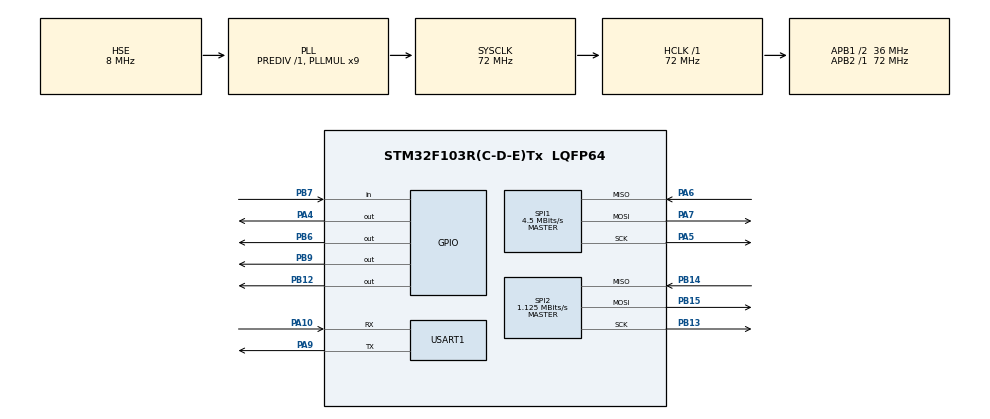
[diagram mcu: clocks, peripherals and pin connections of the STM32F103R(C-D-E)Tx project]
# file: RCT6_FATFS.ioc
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Mcu.Family=STM32F1
Mcu.Name=STM32F103R(C-D-E)Tx
Mcu.Package=LQFP64
NVIC.PriorityGroup=NVIC_PRIORITYGROUP_4
NVIC.TIM3_IRQn=true\:1\:0\:true\:false\:true\:true\:true\:true
NVIC.USART1_IRQn=true\:0\:0\:false\:false\:true\:true\:true\:true
PA10.Mode=Asynchronous
PA10.Signal=USART1_RX
PA13.Mode=Serial_Wire
PA13.Signal=SYS_JTMS-SWDIO
PA14.Mode=Serial_Wire
PA14.Signal=SYS_JTCK-SWCLK
PA4.Signal=GPIO_Output
PA5.Mode=Full_Duplex_Master
PA5.Signal=SPI1_SCK
PA6.Mode=Full_Duplex_Master
PA6.Signal=SPI1_MISO
PA7.Mode=Full_Duplex_Master
PA7.Signal=SPI1_MOSI
PA9.Mode=Asynchronous
PA9.Signal=USART1_TX
PB12.Signal=GPIO_Output
PB13.Mode=Full_Duplex_Master
PB13.Signal=SPI2_SCK
PB14.Mode=Full_Duplex_Master
PB14.Signal=SPI2_MISO
PB15.Mode=Full_Duplex_Master
PB15.Signal=SPI2_MOSI
PB6.Signal=GPIO_Output
PB7.Signal=GPIO_Input
PB9.Signal=GPIO_Output
PD0-OSC_IN.Mode=HSE-External-Oscillator
PD0-OSC_IN.Signal=RCC_OSC_IN
PD1-OSC_OUT.Mode=HSE-External-Oscillator
PD1-OSC_OUT.Signal=RCC_OSC_OUT
ProjectManager.HeapSize=0x200
ProjectManager.StackSize=0x400
ProjectManager.TargetToolchain=MDK-ARM V5.32
RCC.AHBFreq_Value=72000000
RCC.APB1CLKDivider=RCC_HCLK_DIV2
RCC.APB1Freq_Value=36000000
RCC.APB1TimFreq_Value=72000000
RCC.APB2Freq_Value=72000000
RCC.APB2TimFreq_Value=72000000
RCC.HCLKFreq_Value=72000000
RCC.PLLMUL=RCC_PLL_MUL9
RCC.PLLSourceVirtual=RCC_PLLSOURCE_HSE
RCC.SYSCLKFreq_VALUE=72000000
RCC.SYSCLKSource=RCC_SYSCLKSOURCE_PLLCLK
RCC.USBFreq_Value=72000000
SPI1.BaudRatePrescaler=SPI_BAUDRATEPRESCALER_16
SPI1.CalculateBaudRate=4.5 MBits/s
SPI1.Direction=SPI_DIRECTION_2LINES
SPI1.Mode=SPI_MODE_MASTER
SPI1.VirtualType=VM_MASTER
SPI2.BaudRatePrescaler=SPI_BAUDRATEPRESCALER_32
SPI2.CalculateBaudRate=1.125 MBits/s
SPI2.Direction=SPI_DIRECTION_2LINES
SPI2.Mode=SPI_MODE_MASTER
SPI2.VirtualType=VM_MASTER
TIM3.AutoReloadPreload=TIM_AUTORELOAD_PRELOAD_ENABLE
TIM3.Period=249
TIM3.Prescaler=71
USART1.VirtualMode=VM_ASYNC
VP_TIM3_VS_ClockSourceINT.Mode=Internal
board=custom

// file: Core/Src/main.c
/* USER CODE BEGIN Header */
/**
  ******************************************************************************
  * @file           : main.c
  * @brief          : Main program body
  ******************************************************************************
  * @attention
  *
  * Copyright (c) 2026 STMicroelectronics.
  * All rights reserved.
  *
  * This software is licensed under terms that can be found in the LICENSE file
  * in the root directory of this software component.
  * If no LICENSE file comes with this software, it is provided AS-IS.
  *
  ******************************************************************************
  */
/* USER CODE END Header */
#include "main.h"

/* USER CODE BEGIN Includes */

#include "stdio.h"
#include "ff.h"
#include "sd.h"
#include "vs1053.h"
#include "uart_io.h"
#include "app.h"
/* USER CODE END Includes */

SPI_HandleTypeDef hspi1;
SPI_HandleTypeDef hspi2;

TIM_HandleTypeDef htim3;

UART_HandleTypeDef huart1;

/* USER CODE BEGIN PV */
int fputc(int ch, FILE *f)
{
    HAL_UART_Transmit(&huart1, (uint8_t *)&ch, 1, 100);
    return ch;
}
/* USER CODE END PV */

void SystemClock_Config(void);
static void MX_GPIO_Init(void);
static void MX_SPI1_Init(void);
static void MX_USART1_UART_Init(void);
static void MX_SPI2_Init(void);
static void MX_TIM3_Init(void);
/* USER CODE BEGIN PFP */
FATFS   fs_sd;
FRESULT fs_sd_res;

static uint8_t mkfs_work[FF_MAX_SS*4];
/* USER CODE END PFP */

int main(void)
{

  /* MCU Configuration--------------------------------------------------------*/

  /* Reset of all peripherals, Initializes the Flash interface and the Systick. */
  HAL_Init();

  /* Configure the system clock */
  SystemClock_Config();

  /* Initialize all configured peripherals */
  MX_GPIO_Init();
  MX_SPI1_Init();
  MX_USART1_UART_Init();
  MX_SPI2_Init();
  MX_TIM3_Init();
  /* USER CODE BEGIN 2 */

	App_Init();          //装配：串口IO + 协议钩子 + 收帧回调注册

  /* USER CODE END 2 */

  /* Infinite loop */
  while (1)
  {

    /* USER CODE BEGIN 3 */
	  App_Poll();          //冲刷发�?? + 把收到的字节喂给协议状�?�机
  }
  /* USER CODE END 3 */
}

void SystemClock_Config(void)
{
  RCC_OscInitTypeDef RCC_OscInitStruct = {0};
  RCC_ClkInitTypeDef RCC_ClkInitStruct = {0};

  /** Initializes the RCC Oscillators according to the specified parameters
  * in the RCC_OscInitTypeDef structure.
  */
  RCC_OscInitStruct.OscillatorType = RCC_OSCILLATORTYPE_HSE;
  RCC_OscInitStruct.HSEState = RCC_HSE_ON;
  RCC_OscInitStruct.HSEPredivValue = RCC_HSE_PREDIV_DIV1;
  RCC_OscInitStruct.HSIState = RCC_HSI_ON;
  RCC_OscInitStruct.PLL.PLLState = RCC_PLL_ON;
  RCC_OscInitStruct.PLL.PLLSource = RCC_PLLSOURCE_HSE;
  RCC_OscInitStruct.PLL.PLLMUL = RCC_PLL_MUL9;
  if (HAL_RCC_OscConfig(&RCC_OscInitStruct) != HAL_OK)
  {
    Error_Handler();
  }

  /** Initializes the CPU, AHB and APB buses clocks
  */
  RCC_ClkInitStruct.ClockType = RCC_CLOCKTYPE_HCLK|RCC_CLOCKTYPE_SYSCLK
                              |RCC_CLOCKTYPE_PCLK1|RCC_CLOCKTYPE_PCLK2;
  RCC_ClkInitStruct.SYSCLKSource = RCC_SYSCLKSOURCE_PLLCLK;
  RCC_ClkInitStruct.AHBCLKDivider = RCC_SYSCLK_DIV1;
  RCC_ClkInitStruct.APB1CLKDivider = RCC_HCLK_DIV2;
  RCC_ClkInitStruct.APB2CLKDivider = RCC_HCLK_DIV1;

  if (HAL_RCC_ClockConfig(&RCC_ClkInitStruct, FLASH_LATENCY_2) != HAL_OK)
  {
    Error_Handler();
  }
}

static void MX_SPI1_Init(void)
{

  /* SPI1 parameter configuration*/
  hspi1.Instance = SPI1;
  hspi1.Init.Mode = SPI_MODE_MASTER;
  hspi1.Init.Direction = SPI_DIRECTION_2LINES;
  hspi1.Init.DataSize = SPI_DATASIZE_8BIT;
  hspi1.Init.CLKPolarity = SPI_POLARITY_LOW;
  hspi1.Init.CLKPhase = SPI_PHASE_1EDGE;
  hspi1.Init.NSS = SPI_NSS_SOFT;
  hspi1.Init.BaudRatePrescaler = SPI_BAUDRATEPRESCALER_16;
  hspi1.Init.FirstBit = SPI_FIRSTBIT_MSB;
  hspi1.Init.TIMode = SPI_TIMODE_DISABLE;
  hspi1.Init.CRCCalculation = SPI_CRCCALCULATION_DISABLE;
  hspi1.Init.CRCPolynomial = 10;
  if (HAL_SPI_Init(&hspi1) != HAL_OK)
  {
    Error_Handler();
  }

}

static void MX_SPI2_Init(void)
{

  /* SPI2 parameter configuration*/
  hspi2.Instance = SPI2;
  hspi2.Init.Mode = SPI_MODE_MASTER;
  hspi2.Init.Direction = SPI_DIRECTION_2LINES;
  hspi2.Init.DataSize = SPI_DATASIZE_8BIT;
  hspi2.Init.CLKPolarity = SPI_POLARITY_LOW;
  hspi2.Init.CLKPhase = SPI_PHASE_1EDGE;
  hspi2.Init.NSS = SPI_NSS_SOFT;
  hspi2.Init.BaudRatePrescaler = SPI_BAUDRATEPRESCALER_32;
  hspi2.Init.FirstBit = SPI_FIRSTBIT_MSB;
  hspi2.Init.TIMode = SPI_TIMODE_DISABLE;
  hspi2.Init.CRCCalculation = SPI_CRCCALCULATION_DISABLE;
  hspi2.Init.CRCPolynomial = 10;
  if (HAL_SPI_Init(&hspi2) != HAL_OK)
  {
    Error_Handler();
  }

}

static void MX_TIM3_Init(void)
{

  TIM_ClockConfigTypeDef sClockSourceConfig = {0};
  TIM_MasterConfigTypeDef sMasterConfig = {0};

  htim3.Instance = TIM3;
  htim3.Init.Prescaler = 71;
  htim3.Init.CounterMode = TIM_COUNTERMODE_UP;
  htim3.Init.Period = 249;
  htim3.Init.ClockDivision = TIM_CLOCKDIVISION_DIV1;
  htim3.Init.AutoReloadPreload = TIM_AUTORELOAD_PRELOAD_ENABLE;
  if (HAL_TIM_Base_Init(&htim3) != HAL_OK)
  {
    Error_Handler();
  }
  sClockSourceConfig.ClockSource = TIM_CLOCKSOURCE_INTERNAL;
  if (HAL_TIM_ConfigClockSource(&htim3, &sClockSourceConfig) != HAL_OK)
  {
    Error_Handler();
  }
  sMasterConfig.MasterOutputTrigger = TIM_TRGO_RESET;
  sMasterConfig.MasterSlaveMode = TIM_MASTERSLAVEMODE_DISABLE;
  if (HAL_TIMEx_MasterConfigSynchronization(&htim3, &sMasterConfig) != HAL_OK)
  {
    Error_Handler();
  }

}

static void MX_USART1_UART_Init(void)
{

  huart1.Instance = USART1;
  huart1.Init.BaudRate = 115200;
  huart1.Init.WordLength = UART_WORDLENGTH_8B;
  huart1.Init.StopBits = UART_STOPBITS_1;
  huart1.Init.Parity = UART_PARITY_NONE;
  huart1.Init.Mode = UART_MODE_TX_RX;
  huart1.Init.HwFlowCtl = UART_HWCONTROL_NONE;
  huart1.Init.OverSampling = UART_OVERSAMPLING_16;
  if (HAL_UART_Init(&huart1) != HAL_OK)
  {
    Error_Handler();
  }

}

static void MX_GPIO_Init(void)
{
  GPIO_InitTypeDef GPIO_InitStruct = {0};

  /* GPIO Ports Clock Enable */
  __HAL_RCC_GPIOD_CLK_ENABLE();
  __HAL_RCC_GPIOA_CLK_ENABLE();
  __HAL_RCC_GPIOB_CLK_ENABLE();

  /*Configure GPIO pin Output Level */
  HAL_GPIO_WritePin(GPIOA, GPIO_PIN_4, GPIO_PIN_RESET);

  /*Configure GPIO pin Output Level */
  HAL_GPIO_WritePin(GPIOB, GPIO_PIN_12|GPIO_PIN_6|GPIO_PIN_9, GPIO_PIN_RESET);

  /*Configure GPIO pin : PA4 */
  GPIO_InitStruct.Pin = GPIO_PIN_4;
  GPIO_InitStruct.Mode = GPIO_MODE_OUTPUT_PP;
  GPIO_InitStruct.Pull = GPIO_NOPULL;
  GPIO_InitStruct.Speed = GPIO_SPEED_FREQ_LOW;
  HAL_GPIO_Init(GPIOA, &GPIO_InitStruct);

  /*Configure GPIO pins : PB12 PB6 PB9 */
  GPIO_InitStruct.Pin = GPIO_PIN_12|GPIO_PIN_6|GPIO_PIN_9;
  GPIO_InitStruct.Mode = GPIO_MODE_OUTPUT_PP;
  GPIO_InitStruct.Pull = GPIO_NOPULL;
  GPIO_InitStruct.Speed = GPIO_SPEED_FREQ_LOW;
  HAL_GPIO_Init(GPIOB, &GPIO_InitStruct);

  /*Configure GPIO pin : PB7 */
  GPIO_InitStruct.Pin = GPIO_PIN_7;
  GPIO_InitStruct.Mode = GPIO_MODE_INPUT;
  GPIO_InitStruct.Pull = GPIO_NOPULL;
  HAL_GPIO_Init(GPIOB, &GPIO_InitStruct);

}

/* USER CODE BEGIN 4 */
void HAL_TIM_PeriodElapsedCallback(TIM_HandleTypeDef *htim){
  if(htim==(TIM_HandleTypeDef*)0){return;}
  if(htim->Instance==TIM3){
    VS_PumpHandler();
  }
}

void HAL_UARTEx_RxEventCallback(UART_HandleTypeDef *huart, uint16_t Size){
  UART_IO_RxEvent(huart, Size);
}

void HAL_UART_TxCpltCallback(UART_HandleTypeDef *huart)
{
    UART_IO_TxDone(huart);
}
/* USER CODE END 4 */

void Error_Handler(void)
{
  __disable_irq();
  while (1)
  {
  }
}
